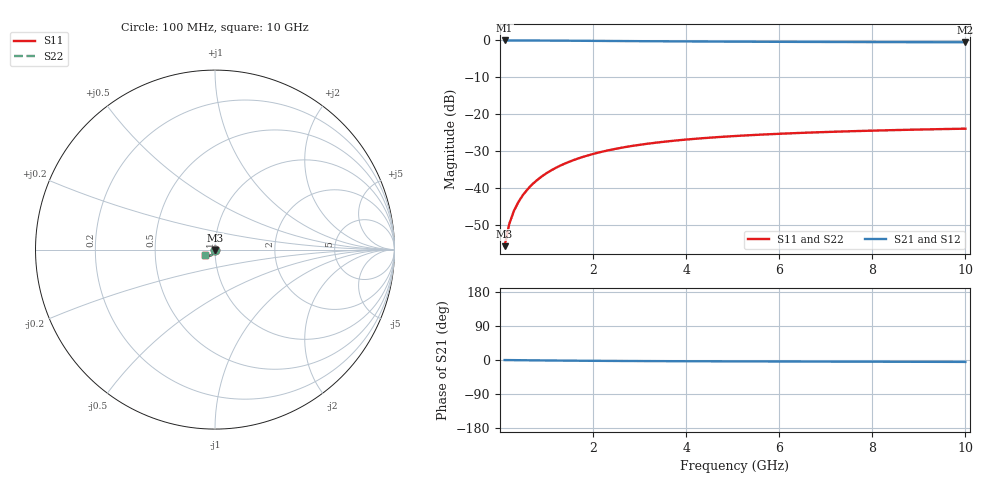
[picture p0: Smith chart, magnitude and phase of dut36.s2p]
! Touchstone file exported from HFSS 2024.1.0
!  File:  C:/UserFiles/LocalFiles/RDL_TSV_Batchsim/temp_TSV1_36_1778747894.aedt
!  Generated:  04:42:18 PM May 14, 2026
!  Design:  TSV1
!  Project:  temp_TSV1_36_1778747894
!  Setup:  Setup1
!  Solution:  Sweep
! Variables:
!  dtsv = 13.53um
!  hbump = 3um
!  htsv = 74.63um
!  lrdl = 252.1521522um
!  p = 40
!  p1 = 41.39um
!  t = 500um
!  trdl = 3um
!  wrdl = 24.89489489um
# GHz S MA R 50.000000
! Terminal data exported
! Port[1] = TSV22_T1
! Port[2] = TSV22_T2
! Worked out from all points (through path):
!   100 points, 100 MHz to 10 GHz, reference 50 ohm
!   highest |S21| = 0.00 dB at 100 MHz (marker M1); lowest = -0.5 dB at 10 GHz (marker M2)
!   lowest |S11| = -55.7 dB at 100 MHz (marker M3), VSWR 1.00, Z = 50 - j0.164 ohm
!   |S11| at or under -10 dB: start of sweep to end of sweep
!   |S22| runs from -55.7 to -23.9 dB; largest |S21 - S12| = 2.1e-15
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0.1  0.001644 -88.4  0.9999 -0.1  0.9999 -0.1  0.001644 -88.4
! Gamma 0 0 0 0
! Port Impedance 50 0 50 0
0.2  0.003291 -91.6  0.9997 -0.3  0.9997 -0.3  0.003291 -91.6
0.3  0.004937 -93.5  0.9995 -0.4  0.9995 -0.4  0.004937 -93.5
0.4  0.006573 -95.2  0.9992 -0.5  0.9992 -0.5  0.006573 -95.2
0.5  0.008194 -96.8  0.9988 -0.6  0.9988 -0.6  0.008194 -96.8
0.6  0.009796 -98.3  0.9984 -0.8  0.9984 -0.8  0.009796 -98.3
0.7  0.01138 -99.7  0.9979 -0.9  0.9979 -0.9  0.01138 -99.7
0.8  0.01293 -101.1  0.9973 -1.0  0.9973 -1.0  0.01293 -101.1
0.9  0.01446 -102.5  0.9966 -1.1  0.9966 -1.1  0.01446 -102.5
1.1  0.01743 -105.2  0.9952 -1.3  0.9952 -1.3  0.01743 -105.2
1.4  0.02164 -109.0  0.9927 -1.6  0.9927 -1.6  0.02164 -109.0
1.6  0.02426 -111.4  0.9909 -1.8  0.9909 -1.8  0.02426 -111.4
1.8  0.02674 -113.7  0.9891 -2.0  0.9891 -2.0  0.02674 -113.7
2.1  0.03018 -116.9  0.9862 -2.2  0.9862 -2.2  0.03018 -116.9
2.5  0.03427 -120.8  0.9824 -2.5  0.9824 -2.5  0.03427 -120.8
2.9  0.03785 -124.3  0.9788 -2.7  0.9788 -2.7  0.03785 -124.3
3.4  0.04169 -128.0  0.9746 -3.0  0.9746 -3.0  0.04169 -128.0
4.2  0.04669 -133.0  0.9685 -3.3  0.9685 -3.3  0.04669 -133.0
5.1  0.05108 -137.4  0.9628 -3.6  0.9628 -3.6  0.05108 -137.4
6.7  0.05678 -143.1  0.955 -4.1  0.955 -4.1  0.05678 -143.1
8.4  0.06104 -147.5  0.949 -4.6  0.949 -4.6  0.06104 -147.5
10  0.06397 -150.6  0.9449 -5.0  0.9449 -5.0  0.06397 -150.6
